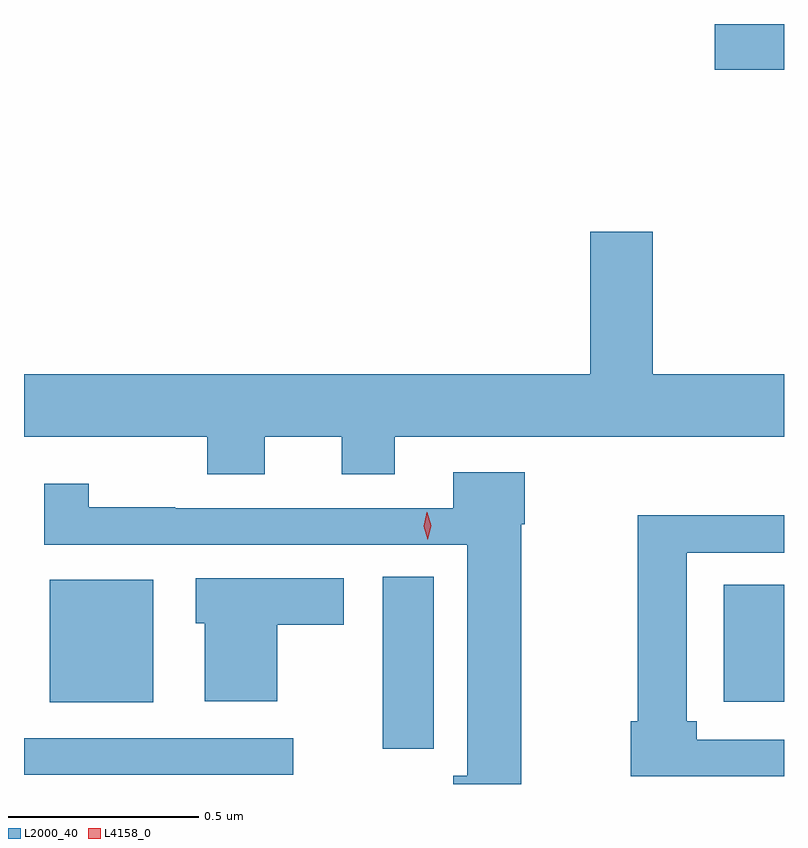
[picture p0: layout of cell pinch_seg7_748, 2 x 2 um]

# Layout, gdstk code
import gdstk
lib = gdstk.Library(unit=1e-6, precision=1e-09)
def R(c, l, rs):  # rectangles x0, y0, x1, y1
    for r in rs: c.add(gdstk.rectangle(r[:2], r[2:], *l))
def P(c, l, *ps):  # polygons
    for p in ps: c.add(gdstk.Polygon(p, *l))
L2000_40 = (2000, 40)
L4158_0 = (4158, 0)

pinch_seg7_748 = lib.new_cell('pinch_seg7_748')
R(pinch_seg7_748, L2000_40, [(355.326,1001.058,356.035,1001.154), (356.27,1001.127,356.404,1001.579), (355.394,1001.249,355.666,1001.572), (357.167,1001.25,357.326,1001.558), (357.144,1002.914,357.326,1003.034)])
P(pinch_seg7_748, L2000_40, [(355.96,1001.948),(356.162,1001.948),(356.162,1001.849),(356.302,1001.849),(356.302,1001.948),(357.326,1001.948),(357.326,1002.112),(356.98,1002.112),(356.98,1002.487),(356.816,1002.487),(356.816,1002.112),(355.326,1002.112),(355.326,1001.948),(355.808,1001.948),(355.808,1001.849),(355.96,1001.849)],
  [(356.634,1001.718),(356.644,1001.718),(356.644,1001.854),(356.456,1001.854),(356.456,1001.76),(355.724,1001.76),(355.724,1001.762),(355.497,1001.762),(355.497,1001.824),(355.379,1001.824),(355.379,1001.664),(356.492,1001.664),(356.492,1001.056),(356.456,1001.056),(356.456,1001.034),(356.634,1001.034)],
  [(357.326,1001.151),(357.096,1001.151),(357.096,1001.199),(357.07,1001.199),(357.07,1001.643),(357.326,1001.643),(357.326,1001.741),(356.941,1001.741),(356.941,1001.199),(356.923,1001.199),(356.923,1001.055),(357.326,1001.055)],
  [(355.993,1001.453),(356.167,1001.453),(356.167,1001.575),(355.778,1001.575),(355.778,1001.457),(355.802,1001.457),(355.802,1001.252),(355.993,1001.252)])
P(pinch_seg7_748, L4158_0, [(356.389,1001.677),(356.389,1001.677),(356.378,1001.712),(356.386,1001.749),(356.386,1001.749),(356.387,1001.749),(356.398,1001.713),(356.389,1001.677)])

lib.write_gds('pinch_seg7_748.gds')
